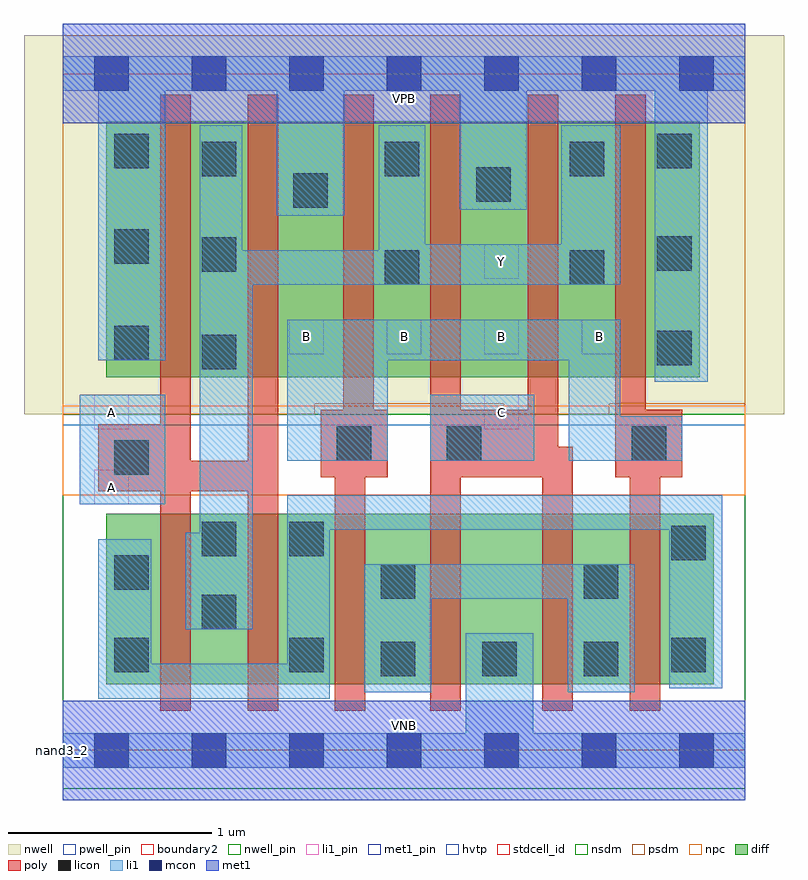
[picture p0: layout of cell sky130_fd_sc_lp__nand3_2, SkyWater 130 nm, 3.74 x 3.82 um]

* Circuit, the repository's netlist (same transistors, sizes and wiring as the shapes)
* Copyright 2020 The SkyWater PDK Authors
*
* Licensed under the Apache License, Version 2.0 (the "License");
* you may not use this file except in compliance with the License.
* You may obtain a copy of the License at
*
*     https://www.apache.org/licenses/LICENSE-2.0
*
* Unless required by applicable law or agreed to in writing, software
* distributed under the License is distributed on an "AS IS" BASIS,
* WITHOUT WARRANTIES OR CONDITIONS OF ANY KIND, either express or implied.
* See the License for the specific language governing permissions and
* limitations under the License.
*
* SPDX-License-Identifier: Apache-2.0

.SUBCKT sky130_fd_sc_lp__nand3_2 A B C VGND VNB VPB VPWR Y
*.PININFO A:I B:I C:I VGND:I VNB:I VPB:I VPWR:I Y:O
MMP0 Y A VPWR VPB sky130_fd_pr__pfet_01v8_hvt m=2 w=1.26U l=0.15U mult=1 sa=0.265
+ sb=0.265 sd=0.28 area=0.063 perim=1.14
MMP1 Y B VPWR VPB sky130_fd_pr__pfet_01v8_hvt m=2 w=1.26U l=0.15U mult=1 sa=0.265
+ sb=0.265 sd=0.28 area=0.063 perim=1.14
MMP2 Y C VPWR VPB sky130_fd_pr__pfet_01v8_hvt m=2 w=1.26U l=0.15U mult=1 sa=0.265
+ sb=0.265 sd=0.28 area=0.063 perim=1.14
MMN0 Y A sndA VNB sky130_fd_pr__nfet_01v8 m=2 w=0.84U l=0.15U mult=1 sa=0.265 sb=0.265
+ sd=0.28 area=0.063 perim=1.14
MMN1 sndA B sndB VNB sky130_fd_pr__nfet_01v8 m=2 w=0.84U l=0.15U mult=1 sa=0.265
+ sb=0.265 sd=0.28 area=0.063 perim=1.14
MMN2 sndB C VGND VNB sky130_fd_pr__nfet_01v8 m=2 w=0.84U l=0.15U mult=1 sa=0.265
+ sb=0.265 sd=0.28 area=0.063 perim=1.14
.ENDS sky130_fd_sc_lp__nand3_2

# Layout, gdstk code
import gdstk
lib = gdstk.Library(unit=1e-6, precision=1e-09)
def R(c, l, rs):  # rectangles x0, y0, x1, y1
    for r in rs: c.add(gdstk.rectangle(r[:2], r[2:], *l))
def A(c, l, x, y, w, h, nx, ny, dx, dy):  # array of equal rectangles
    R(c, l, [(x+i*dx, y+j*dy, x+i*dx+w, y+j*dy+h) for i in range(nx) for j in range(ny)])
def P(c, l, *ps):  # polygons
    for p in ps: c.add(gdstk.Polygon(p, *l))
nwell_pin = (64, 16)
nwell = (64, 20)
diff = (65, 20)
poly = (66, 20)
licon = (66, 44)
li1_pin = (67, 16)
li1 = (67, 20)
mcon = (67, 44)
met1_pin = (68, 16)
met1 = (68, 20)
hvtp = (78, 44)
stdcell_id = (81, 4)
nsdm = (93, 44)
psdm = (94, 20)
npc = (95, 20)
pwell_pin = (122, 16)
boundary2 = (236, 0)

sky130_fd_sc_lp__nand3_2 = lib.new_cell('sky130_fd_sc_lp__nand3_2')
R(sky130_fd_sc_lp__nand3_2, nwell_pin, [(0,3.085,3.36,3.33)])
R(sky130_fd_sc_lp__nand3_2, nwell, [(-0.19,1.655,3.55,3.52)])
R(sky130_fd_sc_lp__nand3_2, diff, [(0.215,0.325,3.205,1.165), (0.215,1.835,3.135,3.095)])
P(sky130_fd_sc_lp__nand3_2, poly, [(1.06,3.225),(0.91,3.225),(0.91,1.425),(0.63,1.425),(0.63,3.225),(0.48,3.225),(0.48,1.605),(0.175,1.605),(0.175,1.275),(0.48,1.275),(0.48,0.195),(0.63,0.195),(0.63,1.275),(0.91,1.275),(0.91,0.195),(1.06,0.195)],
  [(1.6,1.675),(1.53,1.675),(1.53,3.225),(1.38,3.225),(1.38,1.675),(1.27,1.675),(1.27,1.345),(1.34,1.345),(1.34,0.195),(1.49,0.195),(1.49,1.345),(1.6,1.345)],
  [(2.51,1.495),(2.44,1.495),(2.44,3.225),(2.29,3.225),(2.29,1.675),(1.96,1.675),(1.96,3.225),(1.81,3.225),(1.81,0.195),(1.96,0.195),(1.96,1.345),(2.36,1.345),(2.36,0.195),(2.51,0.195)],
  [(3.05,1.675),(2.87,1.675),(2.87,3.225),(2.72,3.225),(2.72,1.345),(2.79,1.345),(2.79,0.195),(2.94,0.195),(2.94,1.345),(3.05,1.345)])
A(sky130_fd_sc_lp__nand3_2, licon, 1.565, 0.365, 0.17, 0.17, 3, 1, 0.5, 0)
A(sky130_fd_sc_lp__nand3_2, licon, 0.255, 0.79, 0.17, 0.17, 1, 3, 0, 0.565)
R(sky130_fd_sc_lp__nand3_2, licon, [(0.255,0.385,0.425,0.555), (1.115,0.385,1.285,0.555), (2.995,0.385,3.165,0.555), (0.685,0.595,0.855,0.765), (1.565,0.745,1.735,0.915), (2.565,0.745,2.735,0.915), (2.995,0.935,3.165,1.105), (0.685,0.955,0.855,1.125), (1.115,0.955,1.285,1.125), (1.35,1.425,1.52,1.595), (1.89,1.425,2.06,1.595), (2.8,1.425,2.97,1.595), (0.685,1.875,0.855,2.045), (2.925,1.895,3.095,2.065), (1.585,2.29,1.755,2.46), (2.495,2.29,2.665,2.46), (0.685,2.355,0.855,2.525), (2.925,2.36,3.095,2.53), (0.255,2.395,0.425,2.565), (1.135,2.67,1.305,2.84), (2.035,2.7,2.205,2.87), (0.685,2.825,0.855,2.995), (1.585,2.825,1.755,2.995), (2.495,2.825,2.665,2.995), (0.255,2.865,0.425,3.035), (2.925,2.865,3.095,3.035)])
A(sky130_fd_sc_lp__nand3_2, li1_pin, 1.115, 1.95, 0.17, 0.17, 4, 1, 0.48, 0)
R(sky130_fd_sc_lp__nand3_2, li1_pin, [(0.155,1.21,0.325,1.38), (0.155,1.58,0.325,1.75), (2.075,1.58,2.245,1.75), (2.075,2.32,2.245,2.49)])
R(sky130_fd_sc_lp__nand3_2, li1, [(0.085,1.21,0.505,1.75), (1.81,1.425,2.32,1.75)])
P(sky130_fd_sc_lp__nand3_2, li1, [(1.055,2.63),(1.055,3.245),(0.505,3.245),(0.505,1.92),(0.175,1.92),(0.175,3.245),(0,3.245),(0,3.415),(3.36,3.415),(3.36,3.245),(3.175,3.245),(3.175,1.815),(2.915,1.815),(2.915,3.245),(2.285,3.245),(2.285,2.66),(1.955,2.66),(1.955,3.245),(1.385,3.245),(1.385,2.63)],
  [(1.985,0.085),(1.985,0.575),(2.315,0.575),(2.315,0.085),(3.36,0.085),(3.36,-0.085),(0,-0.085),(0,0.085)],
  [(2.745,3.075),(2.455,3.075),(2.455,2.49),(1.785,2.49),(1.785,3.075),(1.555,3.075),(1.555,2.46),(0.885,2.46),(0.885,3.075),(0.675,3.075),(0.675,1.07),(0.605,1.07),(0.605,0.595),(0.935,0.595),(0.935,2.29),(2.745,2.29)],
  [(1.105,2.12),(2.745,2.12),(2.745,1.645),(3.05,1.645),(3.05,1.425),(2.49,1.425),(2.49,1.92),(1.6,1.92),(1.6,1.425),(1.105,1.425)],
  [(2.485,0.745),(1.815,0.745),(1.815,0.285),(1.485,0.285),(1.485,0.915),(2.815,0.915),(2.815,0.285),(2.485,0.285)],
  [(3.245,1.255),(3.245,0.305),(2.985,0.305),(2.985,1.085),(1.315,1.085),(1.315,0.255),(0.175,0.255),(0.175,1.04),(0.435,1.04),(0.435,0.425),(1.105,0.425),(1.105,1.255)])
A(sky130_fd_sc_lp__nand3_2, mcon, 0.155, -0.085, 0.17, 0.17, 7, 2, 0.48, 3.33)
R(sky130_fd_sc_lp__nand3_2, met1_pin, [(0,0,3.36,0.245), (0,3.085,3.36,3.33)])
R(sky130_fd_sc_lp__nand3_2, met1, [(0,-0.245,3.36,0.245), (0,3.085,3.36,3.575)])
R(sky130_fd_sc_lp__nand3_2, hvtp, [(0,1.6,3.36,3.33)])
R(sky130_fd_sc_lp__nand3_2, stdcell_id, [(0,0,3.36,3.33)])
R(sky130_fd_sc_lp__nand3_2, nsdm, [(0,-0.19,3.36,1.655)])
P(sky130_fd_sc_lp__nand3_2, psdm, [(3.36,3.52),(0,3.52),(0,1.655),(1.24,1.655),(1.24,1.705),(2.17,1.705),(2.17,1.655),(2.69,1.655),(2.69,1.705),(3.36,1.705)])
R(sky130_fd_sc_lp__nand3_2, npc, [(0,1.255,3.36,1.695)])
R(sky130_fd_sc_lp__nand3_2, pwell_pin, [(0,0,3.36,0.245)])
R(sky130_fd_sc_lp__nand3_2, boundary2, [(0,0,3.36,3.33)])
sky130_fd_sc_lp__nand3_2.add(gdstk.Label('VNB', (1.68,0.123), layer=64, texttype=59))
sky130_fd_sc_lp__nand3_2.add(gdstk.Label('VPB', (1.68,3.208), layer=64, texttype=5))
sky130_fd_sc_lp__nand3_2.add(gdstk.Label('nand3_2', (0,0), layer=83, texttype=44))
sky130_fd_sc_lp__nand3_2.add(gdstk.Label('VPWR', (1.68,3.208), layer=68, texttype=5))
sky130_fd_sc_lp__nand3_2.add(gdstk.Label('VGND', (1.68,0.123), layer=68, texttype=5))
sky130_fd_sc_lp__nand3_2.add(gdstk.Label('A', (0.24,1.295), layer=67, texttype=5))
sky130_fd_sc_lp__nand3_2.add(gdstk.Label('A', (0.24,1.665), layer=67, texttype=5))
sky130_fd_sc_lp__nand3_2.add(gdstk.Label('Y', (2.16,2.405), layer=67, texttype=5))
sky130_fd_sc_lp__nand3_2.add(gdstk.Label('B', (1.2,2.035), layer=67, texttype=5))
sky130_fd_sc_lp__nand3_2.add(gdstk.Label('B', (1.68,2.035), layer=67, texttype=5))
sky130_fd_sc_lp__nand3_2.add(gdstk.Label('B', (2.16,2.035), layer=67, texttype=5))
sky130_fd_sc_lp__nand3_2.add(gdstk.Label('B', (2.64,2.035), layer=67, texttype=5))
sky130_fd_sc_lp__nand3_2.add(gdstk.Label('C', (2.16,1.665), layer=67, texttype=5))

lib.write_gds('sky130_fd_sc_lp__nand3_2.gds')
